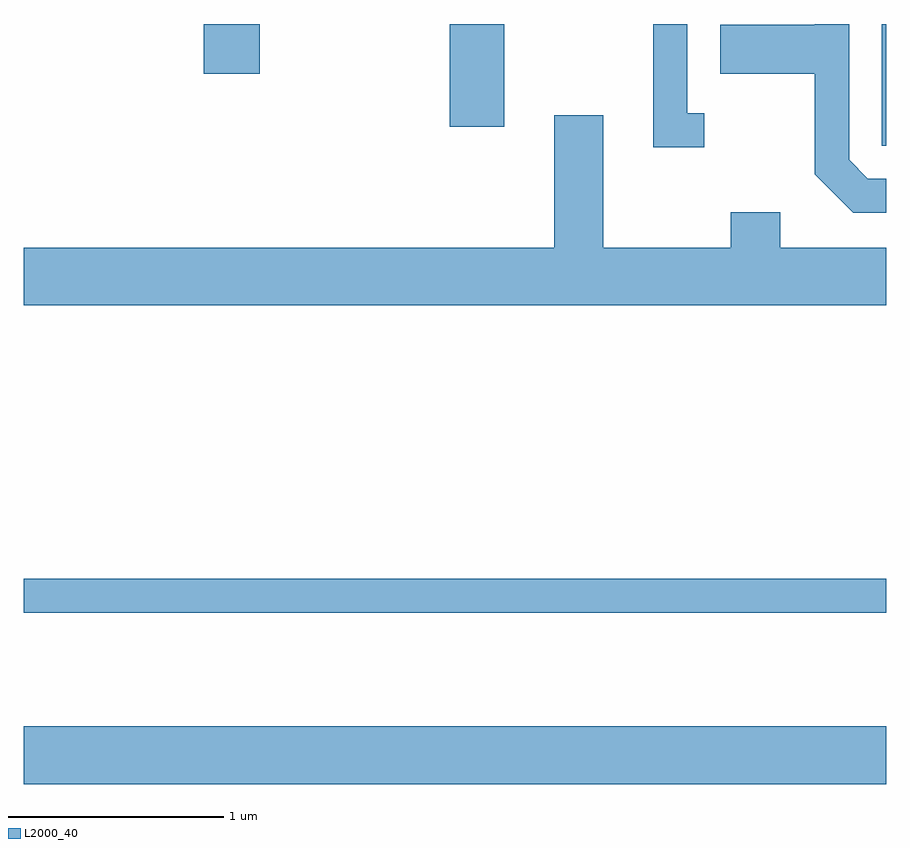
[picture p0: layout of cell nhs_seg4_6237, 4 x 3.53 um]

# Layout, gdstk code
import gdstk
lib = gdstk.Library(unit=1e-6, precision=1e-09)
def R(c, l, rs):  # rectangles x0, y0, x1, y1
    for r in rs: c.add(gdstk.rectangle(r[:2], r[2:], *l))
def P(c, l, *ps):  # polygons
    for p in ps: c.add(gdstk.Polygon(p, *l))
L2000_40 = (2000, 40)

nhs_seg4_6237 = lib.new_cell('nhs_seg4_6237')
R(nhs_seg4_6237, L2000_40, [(367.611,1352.456,371.611,1352.724), (367.611,1353.251,371.611,1353.409), (371.591,1355.416,371.611,1355.982), (369.586,1355.506,369.839,1355.982), (368.446,1355.751,368.704,1355.982)])
P(nhs_seg4_6237, L2000_40, [(370.768,1355.569),(370.689,1355.569),(370.689,1355.982),(370.531,1355.982),(370.531,1355.411),(370.768,1355.411)],
  [(371.611,1355.264),(371.527,1355.264),(371.439,1355.352),(371.439,1355.982),(371.281,1355.982),(371.281,1355.979),(370.841,1355.979),(370.841,1355.751),(371.281,1355.751),(371.281,1355.284),(371.459,1355.106),(371.611,1355.106)],
  [(371.611,1354.944),(371.119,1354.944),(371.119,1355.109),(370.891,1355.109),(370.891,1354.944),(370.299,1354.944),(370.299,1355.559),(370.071,1355.559),(370.071,1354.944),(367.611,1354.944),(367.611,1354.676),(371.611,1354.676)])

lib.write_gds('nhs_seg4_6237.gds')
